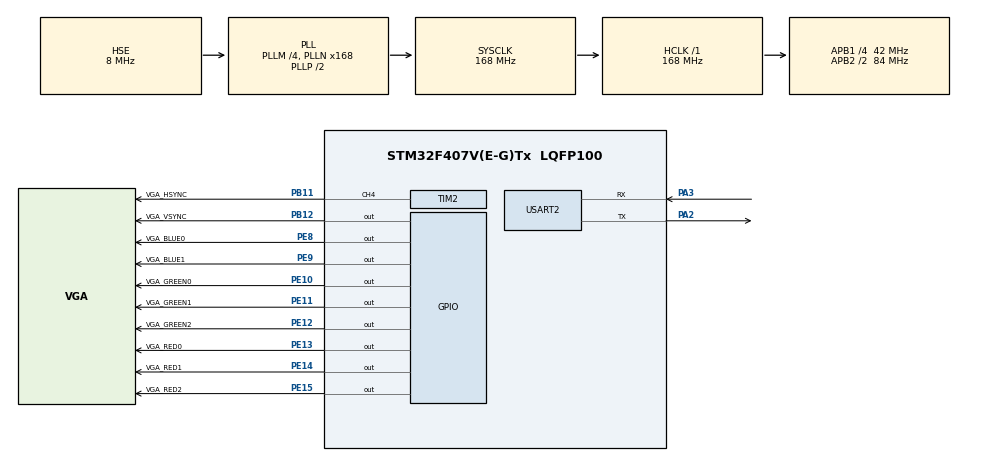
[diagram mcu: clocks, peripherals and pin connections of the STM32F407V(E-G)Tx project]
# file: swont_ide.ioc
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Dma.Request0=TIM1_UP
Dma.TIM1_UP.0.Direction=DMA_MEMORY_TO_PERIPH
Dma.TIM1_UP.0.FIFOMode=DMA_FIFOMODE_DISABLE
Dma.TIM1_UP.0.Instance=DMA2_Stream5
Dma.TIM1_UP.0.MemDataAlignment=DMA_MDATAALIGN_BYTE
Dma.TIM1_UP.0.MemInc=DMA_MINC_ENABLE
Dma.TIM1_UP.0.Mode=DMA_NORMAL
Dma.TIM1_UP.0.PeriphDataAlignment=DMA_PDATAALIGN_BYTE
Dma.TIM1_UP.0.PeriphInc=DMA_PINC_DISABLE
Dma.TIM1_UP.0.Priority=DMA_PRIORITY_VERY_HIGH
Mcu.Family=STM32F4
Mcu.Name=STM32F407V(E-G)Tx
Mcu.Package=LQFP100
NVIC.DMA2_Stream5_IRQn=true\:0\:0\:false\:false\:true\:false\:true
NVIC.PriorityGroup=NVIC_PRIORITYGROUP_4
NVIC.TIM2_IRQn=true\:0\:0\:true\:false\:true\:true\:true
NVIC.USART2_IRQn=true\:0\:0\:false\:false\:true\:true\:true
PA13.Mode=Serial_Wire
PA13.Signal=SYS_JTMS-SWDIO
PA14.Mode=Serial_Wire
PA14.Signal=SYS_JTCK-SWCLK
PA2.Mode=Asynchronous
PA2.Signal=USART2_TX
PA3.Mode=Asynchronous
PA3.Signal=USART2_RX
PB11.GPIO_Label=VGA_HSYNC
PB11.GPIO_Speed=GPIO_SPEED_FREQ_VERY_HIGH
PB11.Signal=S_TIM2_CH4
PB12.GPIO_Label=VGA_VSYNC
PB12.GPIO_PuPd=GPIO_NOPULL
PB12.GPIO_Speed=GPIO_SPEED_FREQ_VERY_HIGH
PB12.Signal=GPIO_Output
PE10.GPIO_Label=VGA_GREEN0
PE10.GPIO_PuPd=GPIO_NOPULL
PE10.GPIO_Speed=GPIO_SPEED_FREQ_VERY_HIGH
PE10.Signal=GPIO_Output
PE11.GPIO_Label=VGA_GREEN1
PE11.GPIO_PuPd=GPIO_NOPULL
PE11.GPIO_Speed=GPIO_SPEED_FREQ_VERY_HIGH
PE11.Signal=GPIO_Output
PE12.GPIO_Label=VGA_GREEN2
PE12.GPIO_PuPd=GPIO_NOPULL
PE12.GPIO_Speed=GPIO_SPEED_FREQ_VERY_HIGH
PE12.Signal=GPIO_Output
PE13.GPIO_Label=VGA_RED0
PE13.GPIO_PuPd=GPIO_NOPULL
PE13.GPIO_Speed=GPIO_SPEED_FREQ_VERY_HIGH
PE13.Signal=GPIO_Output
PE14.GPIO_Label=VGA_RED1
PE14.GPIO_PuPd=GPIO_NOPULL
PE14.GPIO_Speed=GPIO_SPEED_FREQ_VERY_HIGH
PE14.Signal=GPIO_Output
PE15.GPIO_Label=VGA_RED2
PE15.GPIO_PuPd=GPIO_NOPULL
PE15.GPIO_Speed=GPIO_SPEED_FREQ_VERY_HIGH
PE15.Signal=GPIO_Output
PE8.GPIO_Label=VGA_BLUE0
PE8.GPIO_PuPd=GPIO_NOPULL
PE8.GPIO_Speed=GPIO_SPEED_FREQ_VERY_HIGH
PE8.Signal=GPIO_Output
PE9.GPIO_Label=VGA_BLUE1
PE9.GPIO_PuPd=GPIO_NOPULL
PE9.GPIO_Speed=GPIO_SPEED_FREQ_VERY_HIGH
PE9.Signal=GPIO_Output
PH0-OSC_IN.Mode=HSE-External-Oscillator
PH0-OSC_IN.Signal=RCC_OSC_IN
PH1-OSC_OUT.Mode=HSE-External-Oscillator
PH1-OSC_OUT.Signal=RCC_OSC_OUT
ProjectManager.HeapSize=0x200
ProjectManager.StackSize=0x400
ProjectManager.TargetToolchain=STM32CubeIDE
RCC.48MHZClocksFreq_Value=84000000
RCC.AHBFreq_Value=168000000
RCC.APB1CLKDivider=RCC_HCLK_DIV4
RCC.APB1Freq_Value=42000000
RCC.APB1TimFreq_Value=84000000
RCC.APB2CLKDivider=RCC_HCLK_DIV2
RCC.APB2Freq_Value=84000000
RCC.APB2TimFreq_Value=168000000
RCC.CortexFreq_Value=168000000
RCC.HCLKFreq_Value=168000000
RCC.HSE_VALUE=8000000
RCC.HSI_VALUE=16000000
RCC.LSE_VALUE=32768
RCC.PLLM=4
RCC.PLLN=168
RCC.PLLSourceVirtual=RCC_PLLSOURCE_HSE
RCC.SYSCLKFreq_VALUE=168000000
RCC.SYSCLKSource=RCC_SYSCLKSOURCE_PLLCLK
RCC.VCOOutputFreq_Value=336000000
SH.S_TIM2_CH4.0=TIM2_CH4,PWM Generation4 CH4
TIM1.Period=VGA_TIM1_PERIODE
TIM1.Prescaler=VGA_TIM1_PRESCALE
TIM2.AutoReloadPreload=TIM_AUTORELOAD_PRELOAD_DISABLE
TIM2.Channel-PWM\ Generation3\ No\ Output=TIM_CHANNEL_3
TIM2.Channel-PWM\ Generation4\ CH4=TIM_CHANNEL_4
TIM2.OCPolarity_3=TIM_OCPOLARITY_LOW
TIM2.OCPolarity_4=TIM_OCPOLARITY_LOW
TIM2.Period=VGA_TIM2_HSYNC_PERIODE
TIM2.Prescaler=VGA_TIM2_HSYNC_PRESCALE
TIM2.Pulse-PWM\ Generation3\ No\ Output=VGA_TIM2_HTRIGGER_START - VGA_TIM2_DMA_DELAY
TIM2.Pulse-PWM\ Generation4\ CH4=VGA_TIM2_HSYNC_IMP
USART2.VirtualMode=VM_ASYNC
VP_TIM1_VS_ClockSourceINT.Mode=Internal
VP_TIM2_VS_no_output3.Mode=PWM Generation3 No Output
board=custom

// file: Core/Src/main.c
/* USER CODE BEGIN Header */
/**
  ******************************************************************************
  * @file           : main.c
  * @brief          : Main program body
  ******************************************************************************
  * @attention
  *
  * <h2><center>&copy; Copyright (c) 2020 STMicroelectronics.
  * All rights reserved.</center></h2>
  *
  * This software component is licensed by ST under BSD 3-Clause license,
  * the "License"; You may not use this file except in compliance with the
  * License. You may obtain a copy of the License at:
  *                        opensource.org/licenses/BSD-3-Clause
  *
  ******************************************************************************
  */
/* USER CODE END Header */

#include "main.h"
#include "dma.h"
#include "tim.h"
#include "usart.h"
#include "gpio.h"
#include "stdbool.h"

/* USER CODE BEGIN Includes */
#include "bitmap.h"
#include "uart.h"
#include "parse.h"
#include "command_check.h"
#include "run_command.h"
#include "text.h"
#include "bitmap.h"
#include "rectangle.h"
#include "ellipse.h"
#include "receive_command.h"
#include "cube.h"
#include "wait.h"

/* Private includes ----------------------------------------------------------*/
/* USER CODE BEGIN Includes */

/* USER CODE END Includes */

/* USER CODE BEGIN PD */
#define MAX_SIZE_MESSAGE 100
#define MAX_AMOUNT_OF_COMMANDS 300
#define CARRIAGE_RETURN 13
#define DOT 46
#define LINE_FEED 10
/* USER CODE END PD */

/* USER CODE BEGIN PV */
uint8_t rx_data;
volatile uint8_t rx_index = 0;
uint8_t rx_buffer[MAX_AMOUNT_OF_COMMANDS][MAX_SIZE_MESSAGE];
volatile uint8_t commando = 0;
bool New_Message = false;

/* USER CODE END PV */

void SystemClock_Config(void);

int main(void)
{

  /* MCU Configuration--------------------------------------------------------*/

  /* Reset of all peripherals, Initializes the Flash interface and the Systick. */
  HAL_Init();

  /* Configure the system clock */
  SystemClock_Config();

  /* Initialize all configured peripherals */
  MX_GPIO_Init();
  MX_DMA_Init();
  MX_TIM1_Init();
  MX_TIM2_Init();
  MX_USART2_UART_Init();
  /* USER CODE BEGIN 2 */
  HAL_UART_Receive_IT (&huart2, &rx_data, 1);
  /* Initialize non-CubeMX peripherals */
  API_VGA_Screen_Init();

  API_Wait_Init();

  /* USER CODE END 2 */

  /* Infinite loop */
  /* USER CODE BEGIN WHILE */
  while (1)
  {
	  API_Send_Command();
	  API_Wait(1);      	//it crashes sometimes when it does not get a pause, have to look into this
	  //HAL_Delay(100);
    /* USER CODE END WHILE */

  }
}

void SystemClock_Config(void)
{
  RCC_OscInitTypeDef RCC_OscInitStruct = {0};
  RCC_ClkInitTypeDef RCC_ClkInitStruct = {0};

  /** Configure the main internal regulator output voltage
  */
  __HAL_RCC_PWR_CLK_ENABLE();
  __HAL_PWR_VOLTAGESCALING_CONFIG(PWR_REGULATOR_VOLTAGE_SCALE1);
  /** Initializes the CPU, AHB and APB busses clocks
  */
  RCC_OscInitStruct.OscillatorType = RCC_OSCILLATORTYPE_HSE;
  RCC_OscInitStruct.HSEState = RCC_HSE_ON;
  RCC_OscInitStruct.PLL.PLLState = RCC_PLL_ON;
  RCC_OscInitStruct.PLL.PLLSource = RCC_PLLSOURCE_HSE;
  RCC_OscInitStruct.PLL.PLLM = 4;
  RCC_OscInitStruct.PLL.PLLN = 168;
  RCC_OscInitStruct.PLL.PLLP = RCC_PLLP_DIV2;
  RCC_OscInitStruct.PLL.PLLQ = 4;
  if (HAL_RCC_OscConfig(&RCC_OscInitStruct) != HAL_OK)
  {
    Error_Handler();
  }
  /** Initializes the CPU, AHB and APB busses clocks
  */
  RCC_ClkInitStruct.ClockType = RCC_CLOCKTYPE_HCLK|RCC_CLOCKTYPE_SYSCLK
                              |RCC_CLOCKTYPE_PCLK1|RCC_CLOCKTYPE_PCLK2;
  RCC_ClkInitStruct.SYSCLKSource = RCC_SYSCLKSOURCE_PLLCLK;
  RCC_ClkInitStruct.AHBCLKDivider = RCC_SYSCLK_DIV1;
  RCC_ClkInitStruct.APB1CLKDivider = RCC_HCLK_DIV4;
  RCC_ClkInitStruct.APB2CLKDivider = RCC_HCLK_DIV2;

  if (HAL_RCC_ClockConfig(&RCC_ClkInitStruct, FLASH_LATENCY_5) != HAL_OK)
  {
    Error_Handler();
  }
}

/* USER CODE BEGIN 4 */

/**
  * @brief	This function is used to receive the data from the UART interrupt.
  *
  *
  * When data reception is finished, it will be called by the interrupt handler function.
  * Unfortunately the HAL_UART_Receive_IT will only trigger if it received the expected size for the message.
  * To receive a message with unknown lenght, we instead set the expected size for the message to 1 byte.
  * The following steps are followed in this function
  *
  * 1. Checking the runtime of USART 2
  * 2. Check if the received byte is a carriage return.
  * 	2.1 If a carriage return was received, reset the rx_index and put a counter on commando
  * 	so the next message will be stored in a new string
  * 	2.2 If no carriage return was received, store the byte in the rx_buffer.
  *
  * Doing this allows us to store the whole message byte by byte until we read a carriage return (a enter, ascii 13) so the next
  * command can be stored in a new array.
  *
  *
  *@param huart Pointer to the huart handler
  *
  * @retval None
  *
  */

void HAL_UART_RxCpltCallback(UART_HandleTypeDef *huart)
{
	/** Checks the runtime of USART 2*/
	if (huart->Instance == USART2)
	{
		/**< If the character received is ascii '13' which is carriage return (enter), reset rx_index, put counter on commando and set flag New_Message true */
		if (rx_data == CARRIAGE_RETURN  || rx_data == DOT )
		{
			rx_index = 0;
			commando++;
			New_Message = true;
		}

		/**< If the character received is ascii '10', do not store it but turn it into a space character */
		else if(rx_data == LINE_FEED)
			rx_data = ' ';

		/**< Store rx_data into a buffer */
		else
		rx_buffer[commando][rx_index++] = rx_data;

		HAL_UART_Receive_IT (&huart2, &rx_data, 1); /**< receive data (one character at a time) */
	}
}

/* USER CODE END 4 */

void Error_Handler(void)
{
}

/************************ (C) COPYRIGHT STMicroelectronics *****END OF FILE****/
